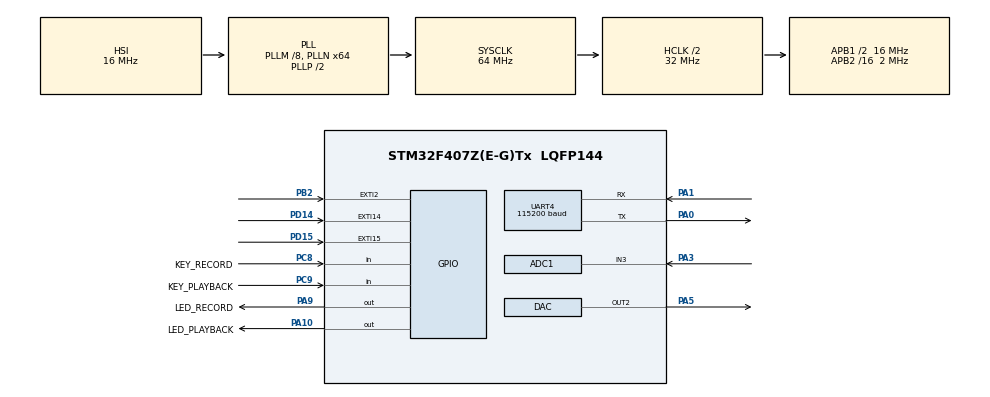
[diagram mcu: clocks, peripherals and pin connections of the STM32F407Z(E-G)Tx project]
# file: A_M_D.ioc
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ADC1.Channel-4\#ChannelRegularConversion=ADC_CHANNEL_3
ADC1.ClockPrescaler=ADC_CLOCK_SYNC_PCLK_DIV2
ADC1.ContinuousConvMode=ENABLE
ADC1.DMAContinuousRequests=ENABLE
ADC1.DataAlign=ADC_DATAALIGN_RIGHT
ADC1.DiscontinuousConvMode=DISABLE
ADC1.EOCSelection=ADC_EOC_SINGLE_CONV
ADC1.EnableAnalogWatchDog=false
ADC1.ExternalTrigConv=ADC_SOFTWARE_START
ADC1.ExternalTrigConvEdge=ADC_EXTERNALTRIGCONVEDGE_NONE
ADC1.InjNumberOfConversion=0
ADC1.NbrOfConversion=1
ADC1.NbrOfConversionFlag=1
ADC1.Rank-4\#ChannelRegularConversion=1
ADC1.Resolution=ADC_RESOLUTION_8B
ADC1.SamplingTime-4\#ChannelRegularConversion=ADC_SAMPLETIME_112CYCLES
ADC1.ScanConvMode=ENABLE
ADC1.master=1
Dma.ADC1.1.Direction=DMA_PERIPH_TO_MEMORY
Dma.ADC1.1.FIFOMode=DMA_FIFOMODE_DISABLE
Dma.ADC1.1.Instance=DMA2_Stream0
Dma.ADC1.1.MemDataAlignment=DMA_MDATAALIGN_HALFWORD
Dma.ADC1.1.MemInc=DMA_MINC_ENABLE
Dma.ADC1.1.Mode=DMA_NORMAL
Dma.ADC1.1.PeriphDataAlignment=DMA_PDATAALIGN_HALFWORD
Dma.ADC1.1.PeriphInc=DMA_PINC_DISABLE
Dma.ADC1.1.Priority=DMA_PRIORITY_MEDIUM
Dma.DAC2.0.Direction=DMA_MEMORY_TO_PERIPH
Dma.DAC2.0.FIFOMode=DMA_FIFOMODE_DISABLE
Dma.DAC2.0.Instance=DMA1_Stream6
Dma.DAC2.0.MemDataAlignment=DMA_MDATAALIGN_HALFWORD
Dma.DAC2.0.MemInc=DMA_MINC_ENABLE
Dma.DAC2.0.Mode=DMA_NORMAL
Dma.DAC2.0.PeriphDataAlignment=DMA_PDATAALIGN_HALFWORD
Dma.DAC2.0.PeriphInc=DMA_PINC_DISABLE
Dma.DAC2.0.Priority=DMA_PRIORITY_MEDIUM
Dma.Request0=DAC2
Dma.Request1=ADC1
Mcu.Family=STM32F4
Mcu.Name=STM32F407Z(E-G)Tx
Mcu.Package=LQFP144
NVIC.DMA1_Stream6_IRQn=true\:0\:0\:false\:false\:true\:false
NVIC.DMA2_Stream0_IRQn=true\:0\:0\:false\:false\:true\:false
NVIC.EXTI15_10_IRQn=true\:2\:0\:true\:false\:true\:true
NVIC.EXTI2_IRQn=true\:1\:0\:true\:false\:true\:true
NVIC.PriorityGroup=NVIC_PRIORITYGROUP_4
NVIC.TIM2_IRQn=true\:0\:0\:false\:false\:true\:true
PA0-WKUP.Mode=Asynchronous
PA0-WKUP.Signal=UART4_TX
PA1.Mode=Asynchronous
PA1.Signal=UART4_RX
PA10.GPIO_Label=LED_PLAYBACK
PA10.Signal=GPIO_Output
PA3.Signal=ADCx_IN3
PA5.Signal=COMP_DAC2_group
PA9.GPIO_Label=LED_RECORD
PA9.Signal=GPIO_Output
PB2.Signal=GPXTI2
PC14-OSC32_IN.Mode=LSE-External-Clock-Source
PC14-OSC32_IN.Signal=RCC_OSC32_IN
PC15-OSC32_OUT.Mode=LSE-External-Clock-Source
PC15-OSC32_OUT.Signal=RCC_OSC32_OUT
PC8.GPIO_Label=KEY_RECORD
PC8.Signal=GPIO_Input
PC9.GPIO_Label=KEY_PLAYBACK
PC9.Signal=GPIO_Input
PD14.GPIO_ModeDefaultEXTI=GPIO_MODE_IT_FALLING
PD14.Signal=GPXTI14
PD15.GPIO_ModeDefaultEXTI=GPIO_MODE_IT_FALLING
PD15.Signal=GPXTI15
PH0-OSC_IN.Mode=HSE-External-Oscillator
PH0-OSC_IN.Signal=RCC_OSC_IN
PH1-OSC_OUT.Mode=HSE-External-Oscillator
PH1-OSC_OUT.Signal=RCC_OSC_OUT
ProjectManager.HeapSize=0x200
ProjectManager.StackSize=0x400
ProjectManager.TargetToolchain=MDK-ARM V5
RCC.48MHZClocksFreq_Value=32000000
RCC.AHBCLKDivider=RCC_SYSCLK_DIV2
RCC.AHBFreq_Value=32000000
RCC.APB1CLKDivider=RCC_HCLK_DIV2
RCC.APB1Freq_Value=16000000
RCC.APB1TimFreq_Value=32000000
RCC.APB2CLKDivider=RCC_HCLK_DIV16
RCC.APB2Freq_Value=2000000
RCC.APB2TimFreq_Value=4000000
RCC.CortexFreq_Value=32000000
RCC.HCLKFreq_Value=32000000
RCC.HSE_VALUE=25000000
RCC.HSI_VALUE=16000000
RCC.LSE_VALUE=8000
RCC.PLLM=8
RCC.PLLN=64
RCC.SYSCLKFreq_VALUE=64000000
RCC.SYSCLKSource=RCC_SYSCLKSOURCE_PLLCLK
RCC.VCOOutputFreq_Value=128000000
SH.ADCx_IN3.0=ADC1_IN3,IN3
SH.COMP_DAC2_group.0=DAC_OUT2,DAC_OUT2
TIM2.Period=127-1
TIM2.Prescaler=32-1
UART4.BaudRate=115200
UART4.VirtualMode=Asynchronous
VP_TIM2_VS_ClockSourceINT.Mode=Internal
board=A_M_D

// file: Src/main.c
/**
  ******************************************************************************
  * @file           : main.c
  * @brief          : Main program body
  ******************************************************************************
  ** This notice applies to any and all portions of this file
  * that are not between comment pairs USER CODE BEGIN and
  * USER CODE END. Other portions of this file, whether
  * inserted by the user or by software development tools
  * are owned by their respective copyright owners.
  *
  * COPYRIGHT(c) 2018 STMicroelectronics
  *
  * Redistribution and use in source and binary forms, with or without modification,
  * are permitted provided that the following conditions are met:
  *   1. Redistributions of source code must retain the above copyright notice,
  *      this list of conditions and the following disclaimer.
  *   2. Redistributions in binary form must reproduce the above copyright notice,
  *      this list of conditions and the following disclaimer in the documentation
  *      and/or other materials provided with the distribution.
  *   3. Neither the name of STMicroelectronics nor the names of its contributors
  *      may be used to endorse or promote products derived from this software
  *      without specific prior written permission.
  *
  * THIS SOFTWARE IS PROVIDED BY THE COPYRIGHT HOLDERS AND CONTRIBUTORS "AS IS"
  * AND ANY EXPRESS OR IMPLIED WARRANTIES, INCLUDING, BUT NOT LIMITED TO, THE
  * IMPLIED WARRANTIES OF MERCHANTABILITY AND FITNESS FOR A PARTICULAR PURPOSE ARE
  * DISCLAIMED. IN NO EVENT SHALL THE COPYRIGHT HOLDER OR CONTRIBUTORS BE LIABLE
  * FOR ANY DIRECT, INDIRECT, INCIDENTAL, SPECIAL, EXEMPLARY, OR CONSEQUENTIAL
  * DAMAGES (INCLUDING, BUT NOT LIMITED TO, PROCUREMENT OF SUBSTITUTE GOODS OR
  * SERVICES; LOSS OF USE, DATA, OR PROFITS; OR BUSINESS INTERRUPTION) HOWEVER
  * CAUSED AND ON ANY THEORY OF LIABILITY, WHETHER IN CONTRACT, STRICT LIABILITY,
  * OR TORT (INCLUDING NEGLIGENCE OR OTHERWISE) ARISING IN ANY WAY OUT OF THE USE
  * OF THIS SOFTWARE, EVEN IF ADVISED OF THE POSSIBILITY OF SUCH DAMAGE.
  *
  ******************************************************************************
  */
#include "main.h"
#include "stm32f4xx_hal.h"
#include "adc.h"
#include "dac.h"
#include "dma.h"
#include "tim.h"
#include "usart.h"
#include "gpio.h"

/* USER CODE BEGIN Includes */
#include "uart_osc.h"
#include "flash_memory.h"
/* USER CODE END Includes */

/* USER CODE BEGIN PV */
/* Private variables ---------------------------------------------------------*/
uint16_t ADC_Value[60000];
uint32_t i;
uint16_t ad1,da1;
uint16_t AD_Value;
uint32_t Address,ADDR_READ;
uint32_t *TEST_ADDR;
GPIO_PinState K_R,K_P;
uint32_t  startAddress , endAddress ;;
/* USER CODE END PV */

void SystemClock_Config(void);

/* USER CODE BEGIN PFP */
/* Private function prototypes -----------------------------------------------*/

/* USER CODE END PFP */

int main(void)
{

  /* MCU Configuration----------------------------------------------------------*/

  /* Reset of all peripherals, Initializes the Flash interface and the Systick. */
  HAL_Init();

  /* Configure the system clock */
  SystemClock_Config();

  /* Initialize all configured peripherals */
  MX_GPIO_Init();
  MX_DMA_Init();
  MX_DAC_Init();
  MX_ADC1_Init();
  MX_UART4_Init();
  MX_TIM2_Init();

  /* Infinite loop */
  while (1)
  {

  /* USER CODE BEGIN 3 */
		//DMA��ʽ
//		HAL_DMA_Start
//		HAL_DMA_Abort
//		HAL_ADC_Start_DMA
//		HAL_ADC_Stop_DMA
//		HAL_DAC_Start_DMA
//		HAL_DAC_Stop_DMA

		//TEST_LED
		/*HAL_GPIO_WritePin(GPIOA,LED_RECORD_Pin,1);
		HAL_GPIO_WritePin(GPIOA,LED_PLAYBACK_Pin,0);
		HAL_Delay(1000);
		HAL_GPIO_WritePin(GPIOA,LED_RECORD_Pin,0);
		HAL_GPIO_WritePin(GPIOA,LED_PLAYBACK_Pin,1);
		HAL_Delay(1000);*/

		//TEST

//		//TEST_OK
//		//HAL_GPIO_WritePin(GPIOA,LED_RECORD_Pin,HAL_GPIO_ReadPin(GPIOC,KEY_RECORD_Pin));
//		if(HAL_GPIO_ReadPin(GPIOC,KEY_RECORD_Pin)==GPIO_PIN_SET)
//		{
//			HAL_GPIO_WritePin(GPIOA,LED_RECORD_Pin,GPIO_PIN_RESET);
//			printf("RECOEDING \r\n");
//			HAL_Delay(500);
//			startAddress=0x08020000;endAddress=0x0802F000;
//			Address=startAddress;
//			FlashInit();
//			i=0;
//			while(Address<endAddress)
//			{
//			HAL_ADC_Start(&hadc1);
//			ad1=HAL_ADC_GetValue(&hadc1);
//			WriteFlash(Address,ad1);
//			//AD_Value=*(__IO uint16_t*)(Address);
//			//printf("addr:0x%x, data:0x%x\r\n", Address, AD_Value);
//			Address=Address+2;
//			printf("AD value= %1.3f V  \r\n",ad1*3.3f/4096);
//			//printf("0x%x \r\n",AD_Value);
//
//
//				//ָ�뷽��
//				/*
//				*TEST_ADDR=ad1;
//					printf("data:0x%x \r\n",*TEST_ADDR);
//				TEST_ADDR++;
//				i++;
//				*/
//			Uart_OSC_ShowWave(ad1,0,0,0);
//
//			//HAL_Delay(1000);
//			}
//			//PrintFlash();
//			HAL_ADC_Stop(&hadc1);
//			printf("**************************************************************************************************************************");
//			//HAL_Delay(20000);
//		}
//		else
//		{
//			HAL_GPIO_WritePin(GPIOA,LED_RECORD_Pin,GPIO_PIN_SET);
//			//HAL_Delay(1000);
//		}
//		if(HAL_GPIO_ReadPin(GPIOC,KEY_PLAYBACK_Pin)==GPIO_PIN_SET)
//		{
//			HAL_GPIO_WritePin(GPIOA,LED_PLAYBACK_Pin,GPIO_PIN_RESET);
//			printf("PLAYBACKING...");
//			printf("\r\n DAC EXAMPLE !!!\r\n");
//
//			startAddress=0x08020000;
//			endAddress=0x0802F000;
//			Address=startAddress;
//			//MemoryProgramStatus=0x0;
//			//uint32_t temp ;
//			while (Address < endAddress)
//			{
//					da1=ReadFlash(Address);
//					printf("addr:0x%x, data:0x%x\r\n", Address, da1);
//					HAL_DAC_SetValue(&hdac, DAC_CHANNEL_2, DAC_ALIGN_12B_R, da1);
//					HAL_DAC_Start(&hdac, DAC_CHANNEL_2);
//					Address = Address + 2;
//					//printf("DATA:0x%x \r\n",DATA_16);
//			}
//			printf("**************************************************************************************************************************");
//		}
//		else
//		{
//			HAL_GPIO_WritePin(GPIOA,LED_PLAYBACK_Pin,GPIO_PIN_SET);
//			HAL_Delay(1000);
//		}

		//CONTROL
		/*if(HAL_GPIO_ReadPin(GPIOC,KEY_RECORD_Pin)==1)
		{
			HAL_GPIO_WritePin(GPIOA,LED_RECORD_Pin,0);
			printf("RECORDING...");
			HAL_Delay(1000);
		}
		else
		{
			HAL_GPIO_WritePin(GPIOA,LED_RECORD_Pin,1);
			HAL_Delay(1000);
		}
		if(HAL_GPIO_ReadPin(GPIOC,KEY_PLAYBACK_Pin)==1)
		{
			HAL_GPIO_WritePin(GPIOA,LED_PLAYBACK_Pin,0);
			printf("PLAYBACKING...");
			HAL_Delay(1000);
		}
		else
		{
			HAL_GPIO_WritePin(GPIOA,LED_PLAYBACK_Pin,1);
			HAL_Delay(1000);
		}*/

		//ADC
		/*HAL_Delay(500);
		HAL_ADC_Start(&hadc1);
		ad1=HAL_ADC_GetValue(&hadc1);
		printf("AD value= %1.3f V  \r\n",ad1*3.3f/4096);
		Uart_OSC_ShowWave(ad1,0,0,0);*/
		//MEMORY
		/*WriteFlash(ad1);
		PrintFlash();*/
  }

	//DAC
	/*printf("\r\n DAC EXAMPLE !!!\r\n");
	HAL_DAC_SetValue(&hdac, DAC_CHANNEL_2, DAC_ALIGN_12B_R, ad1);
	HAL_DAC_Start(&hdac, DAC_CHANNEL_2);*/
  /* USER CODE END 3 */

}

void SystemClock_Config(void)
{

  RCC_OscInitTypeDef RCC_OscInitStruct;
  RCC_ClkInitTypeDef RCC_ClkInitStruct;

    /**Configure the main internal regulator output voltage
    */
  __HAL_RCC_PWR_CLK_ENABLE();

  __HAL_PWR_VOLTAGESCALING_CONFIG(PWR_REGULATOR_VOLTAGE_SCALE1);

    /**Initializes the CPU, AHB and APB busses clocks
    */
  RCC_OscInitStruct.OscillatorType = RCC_OSCILLATORTYPE_HSI;
  RCC_OscInitStruct.HSIState = RCC_HSI_ON;
  RCC_OscInitStruct.HSICalibrationValue = 16;
  RCC_OscInitStruct.PLL.PLLState = RCC_PLL_ON;
  RCC_OscInitStruct.PLL.PLLSource = RCC_PLLSOURCE_HSI;
  RCC_OscInitStruct.PLL.PLLM = 8;
  RCC_OscInitStruct.PLL.PLLN = 64;
  RCC_OscInitStruct.PLL.PLLP = RCC_PLLP_DIV2;
  RCC_OscInitStruct.PLL.PLLQ = 4;
  if (HAL_RCC_OscConfig(&RCC_OscInitStruct) != HAL_OK)
  {
    _Error_Handler(__FILE__, __LINE__);
  }

    /**Initializes the CPU, AHB and APB busses clocks
    */
  RCC_ClkInitStruct.ClockType = RCC_CLOCKTYPE_HCLK|RCC_CLOCKTYPE_SYSCLK
                              |RCC_CLOCKTYPE_PCLK1|RCC_CLOCKTYPE_PCLK2;
  RCC_ClkInitStruct.SYSCLKSource = RCC_SYSCLKSOURCE_PLLCLK;
  RCC_ClkInitStruct.AHBCLKDivider = RCC_SYSCLK_DIV2;
  RCC_ClkInitStruct.APB1CLKDivider = RCC_HCLK_DIV2;
  RCC_ClkInitStruct.APB2CLKDivider = RCC_HCLK_DIV16;

  if (HAL_RCC_ClockConfig(&RCC_ClkInitStruct, FLASH_LATENCY_1) != HAL_OK)
  {
    _Error_Handler(__FILE__, __LINE__);
  }

    /**Configure the Systick interrupt time
    */
  HAL_SYSTICK_Config(HAL_RCC_GetHCLKFreq()/1000);

    /**Configure the Systick
    */
  HAL_SYSTICK_CLKSourceConfig(SYSTICK_CLKSOURCE_HCLK);

  /* SysTick_IRQn interrupt configuration */
  HAL_NVIC_SetPriority(SysTick_IRQn, 0, 0);
}

/* USER CODE BEGIN 4 */
/**
  * @brief EXTI line detection callbacks
  * @param GPIO_Pin: Specifies the pins connected EXTI line
  * @retval None
  */
void HAL_GPIO_EXTI_Callback(uint16_t GPIO_Pin)
{
	switch (GPIO_Pin)
	{
		case GPIO_PIN_14:
			printf("START RECORD..................... \r\n");
		HAL_ADC_Start_DMA(&hadc1,(uint32_t*)&ADC_Value,60000);
		//HAL_DAC_Start_DMA(&hdac,DAC_CHANNEL_2,(uint32_t*)&ADC_Value,10000,DAC_ALIGN_8B_R);
		//i=0;
		//HAL_TIM_Base_Start_IT(&htim2);

//		i=0;
//		while(i<10000)
//		{
//			Uart_OSC_ShowWave(ADC_Value[i],0,0,0);
//			i++;
//		}
		break;
		case GPIO_PIN_15:
			printf("PLAYBACK ....................... \r\n");
		i=0;
		HAL_TIM_Base_Start_IT(&htim2);
		break;
		case GPIO_PIN_2:
			printf("STOPPPPPPPPPPPPPPPPPPPPPPPPPPPPPPPPPP \r\n");
		HAL_ADC_Stop_DMA(&hadc1);
		break;

		default:printf("NOTHING");break;
	}
}

	void HAL_TIM_PeriodElapsedCallback(TIM_HandleTypeDef *htim)
{
	//printf("TIM2... \r\n");
	HAL_DAC_SetValue(&hdac, DAC_CHANNEL_2, DAC_ALIGN_8B_R, ADC_Value[i]);
	HAL_DAC_Start(&hdac, DAC_CHANNEL_2);
	i++;
	if(i==60000) HAL_TIM_Base_Stop(&htim2);
}

//			startAddress=0x08020000;endAddress=0x0803FFFF;
//		if(Address<endAddress)
//		{
//			Address=startAddress;
//			FlashInit();
//		}
//
//			//FlashInit();
//			i=0;
//			while(Address<endAddress-1)
//			{
//			HAL_ADC_Start(&hadc1);
//			ad1=HAL_ADC_GetValue(&hadc1);
//			WriteFlash(Address,ad1);
//			Address=Address+2;
//			ADDR_READ=Address;
//			printf("AD value= %1.3f V  \r\n",ad1*3.3f/4096);
//				//printf("data: 0x%x \r\n",ad1);
//			Uart_OSC_ShowWave(ad1,0,0,0);
//			}
//
//			//PrintFlash();
//		break;
//		case GPIO_PIN_15:
//		printf("PLAYBACK..................... \r\n");
//		//printf("ADDR_READ: 0x%x",ADDR_READ);
//			startAddress=0x08020000;
//			endAddress=ADDR_READ;
//			Address=startAddress;
//		while (Address < endAddress)
//			{
//					da1=ReadFlash(Address);
//					printf("addr:0x%x, data:0x%x\r\n", Address, da1);
//					HAL_DAC_SetValue(&hdac, DAC_CHANNEL_2, DAC_ALIGN_12B_R, da1);
//					HAL_DAC_Start(&hdac, DAC_CHANNEL_2);
//					Address = Address + 2;
//			HAL_Delay(500);
//					//printf("DATA:0x%x \r\n",DATA_16);
//			}
//			printf("*********************************");
//		break;
//		case GPIO_PIN_2:
////			printf("PLAYBACK..................... \r\n");
////			startAddress=0x08020000;
////			endAddress=ADDR_READ;
////			Address=startAddress;
////		while (Address < endAddress)
////			{
////					da1=ReadFlash(Address);
////					printf("addr:0x%x, data:0x%x\r\n", Address, da1);
////					HAL_DAC_SetValue(&hdac, DAC_CHANNEL_2, DAC_ALIGN_12B_R, da1);
////					HAL_DAC_Start(&hdac, DAC_CHANNEL_2);
////					Address = Address + 2;
////					//printf("DATA:0x%x \r\n",DATA_16);
////			}
////			printf("*********************************");
////		break;
//
//		printf("STOP RECORD..................... \r\n");
//		HAL_ADC_Stop(&hadc1);
//		Address=0x0803FFFF;
//		break;
//		default:printf("NOTHING");break;

  /*if(GPIO_Pin == GPIO_PIN_14)
  {
		//AD_Value=HAL_GPIO_ReadPin(GPIOD,GPIO_PIN_14);
		printf("START RECORD..................... \r\n");
		//printf("%d \r\n",AD_Value);
  }
	if(GPIO_Pin == GPIO_PIN_15)
  {
		printf("STOP RECORD..................... \r\n");
  }
	*/
/* USER CODE END 4 */

void _Error_Handler(char *file, int line)
{
  while(1)
  {
  }
}

/************************ (C) COPYRIGHT STMicroelectronics *****END OF FILE****/
